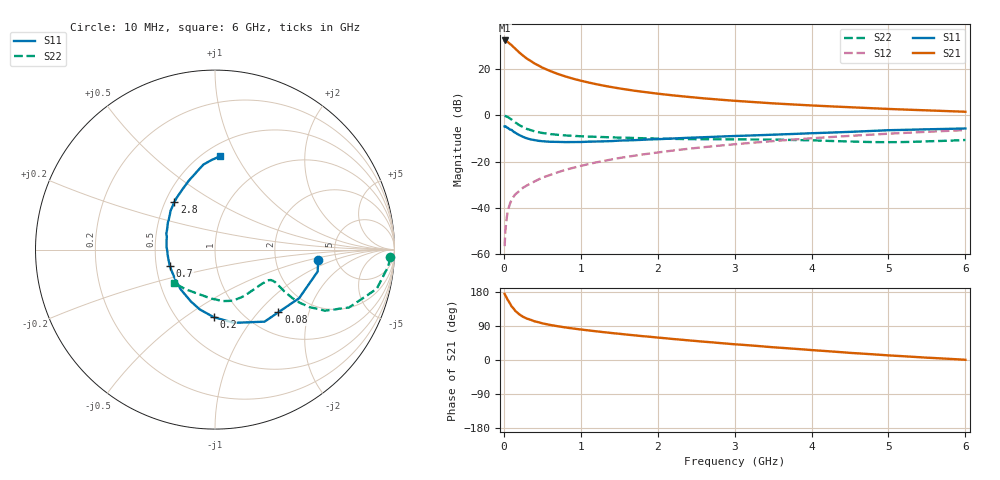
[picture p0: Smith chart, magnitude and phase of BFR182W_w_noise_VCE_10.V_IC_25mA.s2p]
! Infineon Technologies  Discrete & RF Semiconductors
! BFR182W
! VCE =  10. V,  IC =  25 mA
! Common Emitter S-Parameters:  Jan 2017
# GHz  S  MA  R  50
!  f  S11  S21  S12  S22
! GHz  MAG  ANG  MAG  ANG  MAG  ANG  MAG  ANG
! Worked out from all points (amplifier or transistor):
!   77 points, 10 MHz to 6 GHz, reference 50 ohm
!   highest |S21| = 32.4 dB at 10 MHz (marker M1)
!   |S21| within 3 dB of that: start of sweep to 130.7 MHz
!   unconditionally stable (mu >= 1): 791 MHz to 2.329 GHz
!   at 130 MHz: K = 0.45, MSG = 32.2 dB, |S12| = -34.9 dB
!   at 2.2 GHz: K = 1.01, MAG = 11.3 dB, |S12| = -15.2 dB
!   at 6 GHz: K = 0.86, MSG = 4.0 dB, |S12| = -6.4 dB
!   lowest NFmin = 1.56 dB at 450 MHz
!   S11 on the Smith chart (normalised r, x): 10 MHz: 3.62, -0.62; 80 MHz: 1.39, -1.29; 200 MHz: 0.74, -0.65; 700 MHz: 0.59, -0.11; 2.8 GHz: 0.56, +0.34; 6 GHz: 0.60, +0.86
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0.01  0.5776 -5.7  41.47 174.3  0.0015 83.9  0.9787 -2.5
0.02  0.5848 -12.1  41.34 170.6  0.0032 99.4  0.9687 -5.7
0.05  0.5413 -30.0  38.62 158.6  0.0083 77.2  0.9268 -13.7
0.08  0.4966 -44.7  34.84 149.1  0.0124 73.1  0.8554 -19.2
0.1  0.4873 -55.5  32.95 141.7  0.0151 71.6  0.8128 -23.4
0.12  0.4544 -62.8  30.56 137.3  0.017 69.6  0.7675 -25.4
0.15  0.4214 -75.6  27.37 129.4  0.0198 67.3  0.7018 -29.0
0.2  0.3763 -91.2  22.87 120.7  0.0232 67.1  0.6174 -31.3
0.25  0.3435 -104.4  19.47 114.0  0.0275 65.7  0.556 -32.1
0.3  0.3191 -114.7  16.79 109.2  0.0307 65.5  0.5093 -32.1
0.4  0.2924 -131.0  13.17 102.0  0.0375 67.9  0.4518 -31.1
0.5  0.2765 -143.2  10.76 96.8  0.0452 68.9  0.4172 -29.9
0.7  0.2677 -160.6  7.869 89.1  0.059 71.2  0.3809 -28.4
0.9  0.2656 -173.6  6.192 83.1  0.0737 71.5  0.3617 -28.4
1.1  0.2706 176.7  5.131 78.1  0.0886 71.7  0.3493 -29.1
1.5  0.2857 161.8  3.826 69.2  0.1199 70.6  0.3313 -32.9
2.1  0.3112 145.1  2.821 57.4  0.1661 67.6  0.3135 -42.6
2.8  0.3484 130.7  2.19 44.9  0.2219 62.8  0.3049 -57.2
3.1  0.363 124.8  2.014 40.1  0.2459 60.4  0.3024 -63.3
4.1  0.417 109.2  1.609 24.8  0.3283 52.0  0.2859 -83.8
5.1  0.4826 96.5  1.357 11.0  0.41 42.5  0.2645 -113.6
6  0.5217 86.7  1.198 0.6  0.4808 33.6  0.2943 -141.1
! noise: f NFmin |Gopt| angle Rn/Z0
0.45  1.56  0.16  -169  0.15
0.9  1.65  0.17  -163  0.16
1.9  2.18  0.33  -138  0.18
2.4  2.46  0.34  -127  0.29
